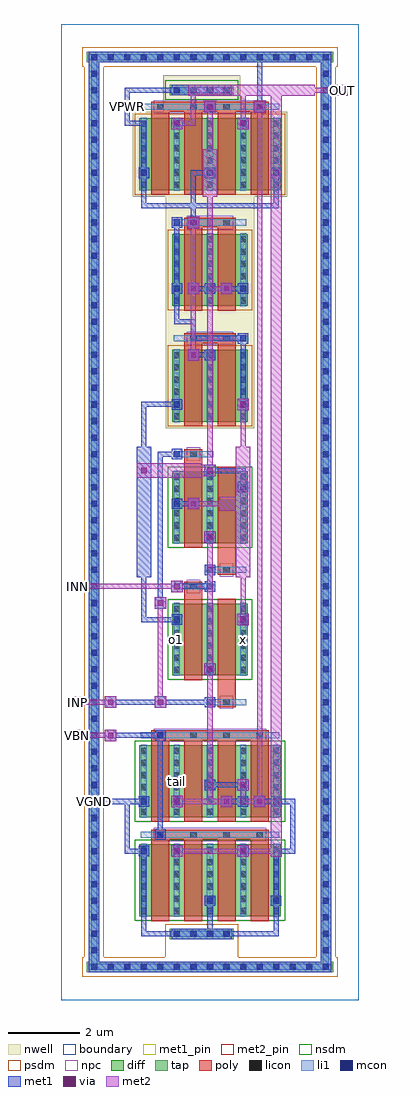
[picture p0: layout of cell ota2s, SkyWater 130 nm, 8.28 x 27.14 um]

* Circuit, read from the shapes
.subckt ota2s INN INP OUT VBN VGND VPWR o1 tail x
XM1 OUT VBN VGND VGND sky130_fd_pr__nfet_01v8 w=2 l=0.5 m=4
XM2 tail VBN VGND VGND sky130_fd_pr__nfet_01v8 w=2 l=0.5 m=4
XM3 tail INN o1 VGND sky130_fd_pr__nfet_01v8 w=2 l=0.5 m=2
XM4 tail INP x VGND sky130_fd_pr__nfet_01v8 w=2 l=0.5 m=2
XM5 OUT o1 VPWR VPWR sky130_fd_pr__pfet_01v8 w=2 l=0.5 m=4
XM6 VPWR x o1 VPWR sky130_fd_pr__pfet_01v8 w=2 l=0.5 m=2
XM7 VPWR x x VPWR sky130_fd_pr__pfet_01v8 w=2 l=0.5 m=2
.ends

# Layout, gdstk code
import gdstk
lib = gdstk.Library(unit=1e-6, precision=1e-09)
def R(c, l, rs):  # rectangles x0, y0, x1, y1
    for r in rs: c.add(gdstk.rectangle(r[:2], r[2:], *l))
def A(c, l, x, y, w, h, nx, ny, dx, dy):  # array of equal rectangles
    R(c, l, [(x+i*dx, y+j*dy, x+i*dx+w, y+j*dy+h) for i in range(nx) for j in range(ny)])
nwell = (64, 20)
diff = (65, 20)
tap = (65, 44)
poly = (66, 20)
licon = (66, 44)
li1 = (67, 20)
mcon = (67, 44)
met1_pin = (68, 16)
met1 = (68, 20)
via = (68, 44)
met2_pin = (69, 16)
met2 = (69, 20)
nsdm = (93, 44)
psdm = (94, 20)
npc = (95, 20)
boundary = (235, 4)

ota2s = lib.new_cell('ota2s')
R(ota2s, nwell, [(2.915,15.9,5.365,22.34), (1.995,22.34,6.285,24.7), (2.835,24.7,4.985,25.72)])
R(ota2s, diff, [(2.175,2.325,6.105,4.325), (2.175,5.085,6.105,7.085), (3.095,9.025,5.185,11.025), (3.095,12.705,5.185,14.705), (3.095,16.08,5.185,18.08), (3.095,19.3,5.185,21.3), (2.175,22.52,6.105,24.52)])
R(ota2s, tap, [(0.715,0.775,7.565,1.065), (0.775,0.775,1.065,26.365), (7.215,0.775,7.505,26.365), (3.015,1.695,4.805,1.985), (3.015,25.155,4.805,25.445), (0.715,26.075,7.565,26.365)])
A(ota2s, poly, 2.51, 2.195, 0.5, 2.405, 4, 2, 0.92, 2.76)
A(ota2s, poly, 2.51, 22.39, 0.5, 2.45, 4, 1, 0.92, 0)
R(ota2s, poly, [(2.51,4.465,5.77,4.735), (2.51,7.225,5.77,7.495), (4.35,8.145,4.85,8.415), (4.35,8.28,4.85,11.155), (3.43,8.895,3.93,11.5), (3.43,11.365,3.93,11.635), (4.35,11.825,4.85,12.095), (4.35,11.96,4.85,14.835), (3.43,12.575,3.93,15.18), (3.43,15.045,3.93,15.315), (3.43,15.95,3.93,18.4), (4.35,15.95,4.85,18.4), (3.43,18.265,4.85,18.535), (3.43,19.17,3.93,21.62), (4.35,19.17,4.85,21.62), (3.43,21.485,4.85,21.755), (2.51,24.705,5.77,24.975)])
A(ota2s, licon, 0.835, 0.835, 0.17, 0.17, 15, 2, 0.46, 25.3)
A(ota2s, licon, 0.835, 1.295, 0.17, 0.17, 1, 54, 0, 0.46)
A(ota2s, licon, 7.275, 1.295, 0.17, 0.17, 1, 54, 0, 0.46)
A(ota2s, licon, 3.135, 1.755, 0.17, 0.17, 4, 2, 0.46, 23.46)
A(ota2s, licon, 2.215, 2.39, 0.17, 0.17, 5, 6, 0.92, 0.34)
A(ota2s, licon, 2.675, 4.515, 0.17, 0.17, 4, 2, 0.92, 2.76)
A(ota2s, licon, 2.215, 5.15, 0.17, 0.17, 5, 6, 0.92, 0.34)
A(ota2s, licon, 3.135, 9.09, 0.17, 0.17, 3, 6, 0.92, 0.34)
A(ota2s, licon, 3.135, 12.77, 0.17, 0.17, 3, 6, 0.92, 0.34)
A(ota2s, licon, 3.595, 15.095, 0.17, 0.17, 1, 3, 0, 3.22)
A(ota2s, licon, 3.135, 16.145, 0.17, 0.17, 3, 6, 0.92, 0.34)
A(ota2s, licon, 3.135, 19.365, 0.17, 0.17, 3, 6, 0.92, 0.34)
A(ota2s, licon, 2.215, 22.585, 0.17, 0.17, 5, 6, 0.92, 0.34)
A(ota2s, licon, 2.675, 24.755, 0.17, 0.17, 4, 1, 0.92, 0)
R(ota2s, licon, [(4.515,8.195,4.685,8.365), (3.595,11.415,3.765,11.585), (4.515,11.875,4.685,12.045), (4.515,18.315,4.685,18.485), (4.515,21.535,4.685,21.705)])
A(ota2s, li1, 2.215, 2.31, 0.17, 2.03, 5, 2, 0.92, 2.76)
A(ota2s, li1, 3.135, 9.01, 0.17, 2.03, 3, 2, 0.92, 3.68)
A(ota2s, li1, 3.135, 16.065, 0.17, 2.03, 3, 2, 0.92, 3.22)
A(ota2s, li1, 2.215, 22.505, 0.17, 2.03, 5, 1, 0.92, 0)
R(ota2s, li1, [(0.755,0.835,7.525,1.005), (0.835,0.835,1.005,26.305), (7.275,0.835,7.445,26.305), (3.055,1.755,4.765,1.925), (2.215,4.515,6.065,4.685), (2.215,7.275,6.065,7.445), (4.055,8.195,5.145,8.365), (3.135,11.415,4.225,11.585), (4.055,11.875,5.145,12.045), (3.135,15.095,4.225,15.265), (3.135,18.315,5.145,18.485), (3.135,21.535,5.145,21.705), (2.215,24.755,6.065,24.925), (3.055,25.215,4.765,25.385), (0.755,26.135,7.525,26.305)])
A(ota2s, mcon, 0.835, 0.835, 0.17, 0.17, 15, 2, 0.46, 25.3)
A(ota2s, mcon, 0.835, 1.295, 0.17, 0.17, 1, 10, 0, 0.46)
A(ota2s, mcon, 7.275, 1.295, 0.17, 0.17, 1, 10, 0, 0.46)
A(ota2s, mcon, 3.135, 1.755, 0.17, 0.17, 4, 2, 0.46, 23.46)
A(ota2s, mcon, 0.835, 5.895, 0.17, 0.17, 3, 2, 3.22, 2.3)
A(ota2s, mcon, 0.835, 6.355, 0.17, 0.17, 1, 4, 0, 0.46)
A(ota2s, mcon, 7.275, 6.355, 0.17, 0.17, 1, 4, 0, 0.46)
A(ota2s, mcon, 0.835, 9.115, 0.17, 0.17, 3, 2, 3.22, 2.3)
A(ota2s, mcon, 0.835, 9.575, 0.17, 0.17, 1, 4, 0, 0.46)
A(ota2s, mcon, 7.275, 9.575, 0.17, 0.17, 1, 4, 0, 0.46)
A(ota2s, mcon, 0.835, 11.875, 0.17, 0.17, 3, 2, 3.22, 0.92)
A(ota2s, mcon, 0.835, 13.255, 0.17, 0.17, 1, 10, 0, 0.46)
A(ota2s, mcon, 7.275, 13.255, 0.17, 0.17, 1, 10, 0, 0.46)
A(ota2s, mcon, 3.135, 13.715, 0.17, 0.17, 1, 3, 0, 1.38)
A(ota2s, mcon, 0.835, 17.855, 0.17, 0.17, 3, 2, 3.22, 6.9)
A(ota2s, mcon, 0.835, 18.315, 0.17, 0.17, 1, 14, 0, 0.46)
A(ota2s, mcon, 7.275, 18.315, 0.17, 0.17, 1, 14, 0, 0.46)
A(ota2s, mcon, 3.135, 19.695, 0.17, 0.17, 3, 1, 0.92, 0)
A(ota2s, mcon, 2.215, 22.915, 0.17, 0.17, 3, 1, 1.84, 0)
R(ota2s, mcon, [(4.055,2.675,4.225,2.845), (5.895,2.675,6.065,2.845), (2.215,4.055,2.385,4.225), (3.135,4.055,3.305,4.225), (4.975,4.055,5.145,4.225), (2.675,4.515,2.845,4.685), (2.215,5.435,2.385,5.605), (3.135,5.435,3.305,5.605), (4.975,5.435,5.145,5.605), (5.895,5.435,6.065,5.605), (2.675,7.275,2.845,7.445), (0.835,8.655,1.005,8.825), (7.275,8.655,7.445,8.825), (3.135,10.495,3.305,10.665), (4.975,10.495,5.145,10.665), (0.835,12.335,1.005,12.505), (7.275,12.335,7.445,12.505), (4.975,14.175,5.145,14.345), (4.975,16.475,5.145,16.645), (4.975,18.315,5.145,18.485), (3.135,21.535,3.305,21.705), (3.135,24.295,3.305,24.465), (4.975,24.295,5.145,24.465), (0.835,25.215,1.005,25.385), (7.275,25.215,7.445,25.385), (0.835,25.675,1.005,25.845), (7.275,25.675,7.445,25.845)])
R(ota2s, met1_pin, [(0.85,5.45,0.99,5.59), (1.77,24.31,1.91,25.37)])
A(ota2s, met1, 3.075, 13.655, 0.29, 0.29, 1, 3, 0, 1.38)
A(ota2s, met1, 3.52, 17.78, 0.32, 0.32, 1, 3, 0, 1.84)
A(ota2s, met1, 3.075, 19.635, 0.29, 0.29, 3, 1, 0.92, 0)
A(ota2s, met1, 2.155, 22.855, 0.29, 0.29, 3, 1, 1.84, 0)
R(ota2s, met1, [(0.775,0.775,7.505,1.065), (0.775,0.775,1.065,26.365), (7.215,0.775,7.505,26.365), (3.075,1.695,4.745,1.985), (2.23,1.77,3.29,1.91), (2.23,1.77,2.37,4.21), (3.15,1.77,4.21,1.91), (3.15,1.77,3.29,1.91), (4.07,1.77,4.21,2.83), (4.07,1.77,6.05,1.91), (5.91,1.77,6.05,2.83), (3.995,2.615,4.285,2.905), (5.835,2.615,6.125,2.905), (5.91,2.69,6.05,4.21), (3.06,3.98,3.38,4.3), (4.9,3.98,5.22,4.3), (2.155,3.995,2.445,4.285), (3.075,3.995,3.365,4.285), (4.915,3.995,5.205,4.285), (1.77,4.07,2.37,4.21), (1.77,4.07,1.91,5.59), (5.91,4.07,6.51,4.21), (6.37,4.07,6.51,5.59), (2.615,4.455,2.905,4.745), (2.69,4.53,2.83,7.43), (3.06,5.36,3.38,5.68), (4.44,5.36,4.76,5.68), (5.36,5.36,5.68,5.68), (2.155,5.375,2.445,5.665), (3.075,5.375,3.365,5.665), (4.915,5.375,5.205,5.665), (5.835,5.375,6.125,5.665), (0.85,5.45,2.37,5.59), (0.85,5.45,0.99,5.59), (4.53,5.45,5.13,5.59), (5.45,5.45,6.05,5.59), (5.91,5.45,6.51,5.59), (4.9,5.82,5.22,6.14), (3.995,5.835,4.285,6.125), (4.07,5.91,5.13,6.05), (1.22,7.2,1.54,7.52), (2.615,7.215,2.905,7.505), (1.31,7.29,2.83,7.43), (1.22,8.12,1.54,8.44), (2.6,8.12,2.92,8.44), (3.995,8.135,4.285,8.425), (1.31,8.21,4.21,8.35), (3.98,9.04,4.3,9.36), (3.995,9.055,4.285,9.345), (4.9,10.42,5.22,10.74), (3.075,10.435,3.365,10.725), (4.915,10.435,5.205,10.725), (2.23,10.51,3.29,10.65), (2.23,10.51,2.37,12.03), (2.6,10.88,2.92,11.2), (2.69,10.97,2.83,15.25), (3.06,11.34,3.38,11.66), (3.995,11.355,4.285,11.645), (3.15,11.43,4.21,11.57), (4.07,11.43,4.21,12.03), (2.1,11.76,2.5,15.38), (3.995,11.815,4.285,12.105), (3.98,12.72,4.3,13.04), (3.995,12.735,4.285,13.025), (3.52,13.64,3.84,13.96), (3.15,13.73,3.75,13.87), (4.915,14.115,5.205,14.405), (4.99,14.19,5.13,14.79), (2.1,14.52,2.5,14.92), (3.98,14.56,4.3,14.88), (4.07,14.65,5.13,14.79), (2.23,15.11,2.37,16.63), (2.69,15.11,3.29,15.25), (4.9,16.4,5.22,16.72), (4.915,16.415,5.205,16.705), (2.23,16.49,3.29,16.63), (4.99,16.49,5.13,18.47), (3.995,17.795,4.285,18.085), (3.61,17.87,4.21,18.01), (4.915,18.255,5.205,18.545), (3.61,18.33,5.13,18.47), (3.61,18.33,3.75,18.93), (3.15,18.79,3.75,18.93), (3.15,18.79,3.29,19.85), (4.44,19.62,4.76,19.94), (3.15,19.71,3.29,21.69), (3.61,19.71,4.21,19.85), (4.53,19.71,5.13,19.85), (3.075,21.475,3.365,21.765), (3.61,21.55,3.75,23.07), (2.23,22.01,3.75,22.15), (2.23,22.01,2.37,23.07), (3.61,22.01,6.05,22.15), (5.91,22.01,6.05,23.07), (2.23,22.93,2.37,24.45), (3.61,22.93,4.21,23.07), (3.06,24.22,3.38,24.54), (4.9,24.22,5.22,24.54), (3.075,24.235,3.365,24.525), (4.915,24.235,5.205,24.525), (1.77,24.31,2.37,24.45), (1.77,24.31,1.91,25.37), (3.98,24.68,4.3,25), (5.36,24.68,5.68,25), (3.995,24.695,4.285,24.985), (5.45,24.77,5.59,26.29), (3.075,25.155,4.745,25.445), (1.77,25.23,3.29,25.37), (3.15,25.23,3.29,25.37), (0.775,26.075,7.505,26.365), (5.45,26.15,5.59,26.29)])
A(ota2s, via, 3.605, 17.865, 0.15, 0.15, 1, 3, 0, 1.84)
R(ota2s, via, [(3.145,4.065,3.295,4.215), (4.985,4.065,5.135,4.215), (3.145,5.445,3.295,5.595), (4.525,5.445,4.675,5.595), (5.445,5.445,5.595,5.595), (4.985,5.905,5.135,6.055), (1.305,7.285,1.455,7.435), (1.305,8.205,1.455,8.355), (2.685,8.205,2.835,8.355), (4.065,9.125,4.215,9.275), (4.985,10.505,5.135,10.655), (2.685,10.965,2.835,11.115), (3.145,11.425,3.295,11.575), (4.065,12.805,4.215,12.955), (3.605,13.725,3.755,13.875), (2.225,14.645,2.375,14.795), (4.065,14.645,4.215,14.795), (4.985,16.485,5.135,16.635), (4.525,19.705,4.675,19.855), (3.145,24.305,3.295,24.455), (4.985,24.305,5.135,24.455), (4.065,24.765,4.215,24.915), (5.445,24.765,5.595,24.915)])
R(ota2s, met2_pin, [(0.31,7.21,0.61,7.51), (0.31,8.13,0.61,8.43), (0.31,11.35,0.61,11.65), (7.67,25.15,7.97,25.45)])
A(ota2s, met2, 3.52, 17.78, 0.32, 0.32, 1, 3, 0, 1.84)
R(ota2s, met2, [(3.06,3.98,3.38,4.3), (4.9,3.98,5.22,4.3), (5.83,3.99,6.13,25.45), (3.15,4.07,5.13,4.21), (4.99,4.07,6.05,4.21), (3.06,5.36,3.38,5.68), (4.44,5.36,4.76,5.68), (5.36,5.36,5.68,5.68), (3.15,5.45,4.67,5.59), (4.07,5.45,4.21,9.27), (4.99,5.45,5.59,5.59), (4.99,5.45,5.13,6.05), (5.45,5.45,5.59,24.91), (4.9,5.82,5.22,6.14), (1.22,7.2,1.54,7.52), (0.31,7.21,0.61,7.51), (0.39,7.29,1.45,7.43), (0.39,7.29,0.53,7.43), (1.22,8.12,1.54,8.44), (2.6,8.12,2.92,8.44), (0.31,8.13,0.61,8.43), (0.39,8.21,1.45,8.35), (0.39,8.21,0.53,8.35), (2.69,8.21,2.83,11.11), (3.98,9.04,4.3,9.36), (4.07,9.13,4.21,12.95), (4.9,10.42,5.22,10.74), (4.99,10.51,5.13,12.03), (2.6,10.88,2.92,11.2), (3.06,11.34,3.38,11.66), (0.31,11.35,0.61,11.65), (0.39,11.43,0.53,11.57), (0.39,11.43,3.29,11.57), (4.86,11.76,5.26,15.38), (3.98,12.72,4.3,13.04), (4.4,13.6,5.26,14), (3.52,13.64,3.84,13.96), (3.61,13.73,4.67,13.87), (2.1,14.52,2.5,14.92), (2.1,14.52,3.88,14.92), (3.88,14.56,3.98,14.88), (3.98,14.56,4.3,14.88), (3.61,14.65,4.21,14.79), (4.07,14.65,4.21,19.85), (4.99,15.11,5.13,16.63), (4.9,16.4,5.22,16.72), (3.61,17.87,3.75,19.85), (4.44,19.62,4.76,19.94), (3.61,19.71,3.75,21.69), (4.07,19.71,4.67,19.85), (4.07,19.71,4.21,22.61), (3.94,22.34,4.34,23.66), (4.07,23.39,4.21,24.91), (3.06,24.22,3.38,24.54), (4.9,24.22,5.22,24.54), (3.15,24.31,3.75,24.45), (3.61,24.31,3.75,25.37), (4.99,24.31,5.13,25.37), (3.98,24.68,4.3,25), (5.36,24.68,5.68,25), (3.53,25.15,5.21,25.45), (4.91,25.15,7.05,25.45), (7.67,25.15,7.97,25.45), (6.83,25.23,7.89,25.37), (7.75,25.23,7.89,25.37)])
R(ota2s, nsdm, [(2.05,2.2,6.23,4.45), (2.05,4.96,6.23,7.21), (2.97,8.9,5.31,11.15), (2.97,12.58,5.31,14.83), (2.89,25.03,4.93,25.57)])
R(ota2s, psdm, [(0.59,0.65,7.69,1.19), (0.65,1.19,1.19,25.95), (2.89,1.19,4.93,2.11), (7.09,1.19,7.63,25.95), (2.97,15.955,5.31,18.205), (2.97,19.175,5.31,21.425), (2.05,22.395,6.23,24.645), (0.59,25.95,7.69,26.49)])
R(ota2s, npc, [(2.575,4.415,5.705,4.785), (2.575,7.175,5.705,7.545), (4.415,8.095,4.785,8.465), (3.495,11.315,3.865,11.685), (4.415,11.775,4.785,12.145), (3.495,14.995,3.865,15.365), (3.495,18.215,4.785,18.585), (3.495,21.435,4.785,21.805), (2.575,24.655,5.705,25.025)])
R(ota2s, boundary, [(0,0,8.28,27.14)])
ota2s.add(gdstk.Label('tail', (3.22,6.085), layer=67, texttype=5))
ota2s.add(gdstk.Label('o1', (3.22,10.025), layer=67, texttype=5))
ota2s.add(gdstk.Label('x', (5.06,10.025), layer=67, texttype=5))
ota2s.add(gdstk.Label('VPWR', (1.84,24.84), layer=68, texttype=5))
ota2s.add(gdstk.Label('VGND', (0.92,5.52), layer=68, texttype=5))
ota2s.add(gdstk.Label('INP', (0.46,8.28), layer=69, texttype=5))
ota2s.add(gdstk.Label('INN', (0.46,11.5), layer=69, texttype=5))
ota2s.add(gdstk.Label('VBN', (0.46,7.36), layer=69, texttype=5))
ota2s.add(gdstk.Label('OUT', (7.82,25.3), layer=69, texttype=5))
ota2s.add(gdstk.Label('VPWR', (1.84,24.84), layer=68, texttype=16))
ota2s.add(gdstk.Label('VGND', (0.92,5.52), layer=68, texttype=16))
ota2s.add(gdstk.Label('INP', (0.46,8.28), layer=69, texttype=16))
ota2s.add(gdstk.Label('INN', (0.46,11.5), layer=69, texttype=16))
ota2s.add(gdstk.Label('VBN', (0.46,7.36), layer=69, texttype=16))
ota2s.add(gdstk.Label('OUT', (7.82,25.3), layer=69, texttype=16))

lib.write_gds('ota2s.gds')
